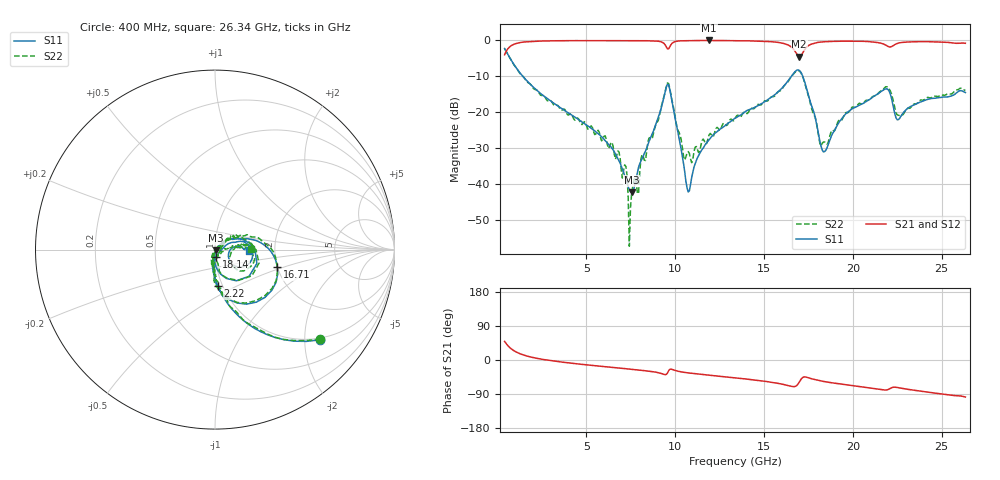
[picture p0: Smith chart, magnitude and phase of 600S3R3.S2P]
!  American Technical Ceramics  Date:  10/27/06
!  One Norden Lane
!  Huntington Station,  NY.  11746-2102
!  Tel:  (631) 622-4700  Fax:  (631) 622-4748
!  Part Number  600S3R3  Mounting Orientation: Horizontal
!  Description: Ultra Low ESR Microwave capacitors
!  Application: Coupling, Bypass, Tuning, DC Block
!  Filters, Matching
# GHZ S DB R 50
! Freq  |S11|  S11 Ph  |S21|  S21 Ph  |S12|  S12 Ph  |S22|  S22 Ph
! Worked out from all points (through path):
!   400 points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, 400 MHz to 26.34 GHz, reference 50 ohm
!   highest |S21| = -0.01 dB at 11.9 GHz (marker M1); lowest = -4.5 dB at 16.98 GHz (marker M2)
!   group delay of S21, straight-line fit = 11.2 ps
!   lowest |S11| = -42.2 dB at 7.55 GHz (marker M3), VSWR 1.02, Z = 50.7 - j0.337 ohm
!   |S11| at or under -10 dB: 1.43 GHz to 16.54 GHz (15.11 GHz wide, 168 % of centre); 17.18 GHz to end of sweep
!   |S22| runs from -57.1 to -2.3 dB; largest |S21 - S12| = 0.0067
!   S11 on the Smith chart (normalised r, x): 400 MHz: 0.95, -2.37; 2.22 GHz: 0.95, -0.40; 16.71 GHz: 2.00, -0.45; 18.14 GHz: 1.01, -0.08; 26.34 GHz: 1.46, -0.03
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0.4  -2.25 -40.6  -3.97 49.1  -3.97 48.9  -2.27 -40.3
2.22  -13.88 -85.5  -0.20 4.4  -0.22 4.4  -13.81 -84.9
4.755  -22.66 -101.3  -0.06 -11.5  -0.06 -11.5  -23.37 -104.3
7.225  -38.57 -78.1  -0.05 -23.1  -0.05 -23.1  -35.01 -97.7
7.355  -40.65 -62.1  -0.06 -23.6  -0.06 -23.7  -43.52 -55.2
7.42  -41.37 -50.0  -0.06 -24.0  -0.05 -24.0  -57.14 -105.1
7.55  -42.19 -25.3  -0.06 -24.5  -0.06 -24.6  -42.47 -99.3
7.94  -35.22 30.5  -0.07 -26.4  -0.07 -26.5  -42.37 18.2
8.135  -32.89 32.7  -0.07 -27.4  -0.07 -27.5  -31.70 36.9
9.045  -21.40 38.0  -0.21 -33.5  -0.22 -33.6  -22.23 42.1
9.63  -12.35 -38.1  -2.36 -28.4  -2.35 -28.5  -11.97 -35.3
10.475  -34.35 -86.0  -0.09 -32.4  -0.09 -32.5  -32.33 -55.7
10.735  -42.10 -28.2  -0.07 -34.1  -0.07 -34.1  -30.87 -27.7
11.905  -27.60 45.0  -0.01 -40.1  -0.01 -40.2  -26.25 26.7
13.4  -21.52 39.7  -0.08 -47.4  -0.09 -47.5  -21.43 36.9
16.715  -8.85 -15.6  -2.80 -70.2  -2.80 -70.5  -9.03 -12.9
16.975  -8.28 -43.7  -4.48 -59.1  -4.50 -59.3  -8.44 -42.6
17.69  -18.32 -90.9  -1.00 -49.7  -1.00 -49.9  -19.07 -91.7
18.145  -28.04 -80.7  -0.47 -54.6  -0.47 -55.0  -28.65 -76.2
22.045  -14.10 -26.9  -1.79 -76.6  -1.81 -76.9  -13.49 -29.7
22.5  -22.05 -17.8  -0.84 -72.5  -0.87 -72.8  -20.68 -32.4
26.335  -14.48 -3.1  -0.79 -97.6  -0.81 -97.9  -13.90 1.5
